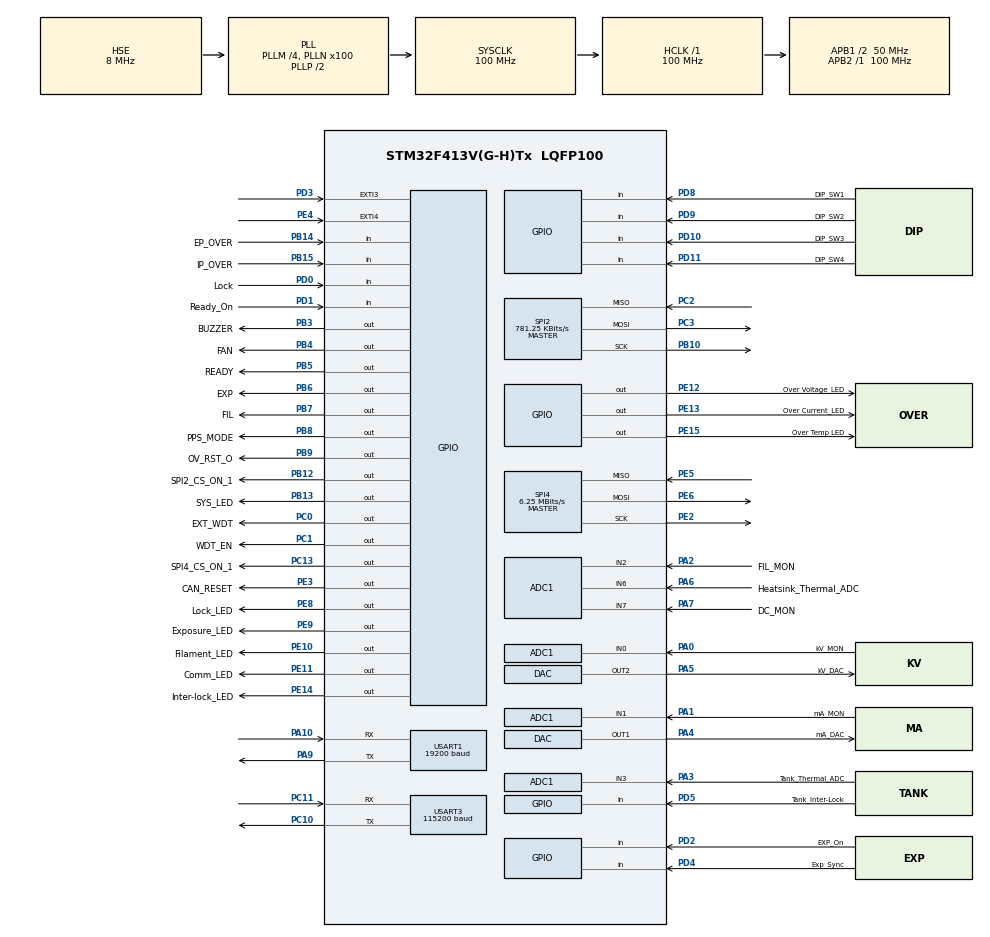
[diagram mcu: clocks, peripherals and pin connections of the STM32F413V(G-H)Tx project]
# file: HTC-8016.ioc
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ADC1.Channel-0\#ChannelRegularConversion=ADC_CHANNEL_0
ADC1.Channel-1\#ChannelRegularConversion=ADC_CHANNEL_1
ADC1.Channel-2\#ChannelRegularConversion=ADC_CHANNEL_2
ADC1.Channel-3\#ChannelRegularConversion=ADC_CHANNEL_3
ADC1.Channel-4\#ChannelRegularConversion=ADC_CHANNEL_6
ADC1.Channel-5\#ChannelRegularConversion=ADC_CHANNEL_7
ADC1.ContinuousConvMode=ENABLE
ADC1.DMAContinuousRequests=ENABLE
ADC1.NbrOfConversion=6
ADC1.NbrOfConversionFlag=1
ADC1.Rank-0\#ChannelRegularConversion=1
ADC1.Rank-1\#ChannelRegularConversion=2
ADC1.Rank-2\#ChannelRegularConversion=3
ADC1.Rank-3\#ChannelRegularConversion=4
ADC1.Rank-4\#ChannelRegularConversion=5
ADC1.Rank-5\#ChannelRegularConversion=6
ADC1.SamplingTime-0\#ChannelRegularConversion=ADC_SAMPLETIME_15CYCLES
ADC1.SamplingTime-1\#ChannelRegularConversion=ADC_SAMPLETIME_15CYCLES
ADC1.SamplingTime-2\#ChannelRegularConversion=ADC_SAMPLETIME_15CYCLES
ADC1.SamplingTime-3\#ChannelRegularConversion=ADC_SAMPLETIME_15CYCLES
ADC1.SamplingTime-4\#ChannelRegularConversion=ADC_SAMPLETIME_15CYCLES
ADC1.SamplingTime-5\#ChannelRegularConversion=ADC_SAMPLETIME_15CYCLES
ADC1.ScanConvMode=ENABLE
ADC1.master=1
Dma.ADC1.0.Direction=DMA_PERIPH_TO_MEMORY
Dma.ADC1.0.FIFOMode=DMA_FIFOMODE_DISABLE
Dma.ADC1.0.Instance=DMA2_Stream0
Dma.ADC1.0.MemDataAlignment=DMA_MDATAALIGN_WORD
Dma.ADC1.0.MemInc=DMA_MINC_ENABLE
Dma.ADC1.0.Mode=DMA_CIRCULAR
Dma.ADC1.0.PeriphDataAlignment=DMA_PDATAALIGN_WORD
Dma.ADC1.0.PeriphInc=DMA_PINC_DISABLE
Dma.ADC1.0.Priority=DMA_PRIORITY_HIGH
Dma.Request0=ADC1
Mcu.Family=STM32F4
Mcu.Name=STM32F413V(G-H)Tx
Mcu.Package=LQFP100
NVIC.DMA2_Stream0_IRQn=true\:0\:0\:false\:false\:true\:false\:true\:true
NVIC.EXTI3_IRQn=true\:0\:0\:false\:false\:true\:true\:true\:true
NVIC.EXTI4_IRQn=true\:0\:0\:false\:false\:true\:true\:true\:true
NVIC.PriorityGroup=NVIC_PRIORITYGROUP_4
NVIC.TIM1_UP_TIM10_IRQn=true\:0\:0\:false\:false\:true\:true\:true\:true
NVIC.TIM6_DAC_IRQn=true\:0\:0\:false\:false\:true\:true\:true\:true
NVIC.TIM7_IRQn=true\:0\:0\:false\:false\:true\:true\:true\:true
NVIC.USART1_IRQn=true\:0\:0\:false\:false\:true\:true\:true\:true
NVIC.USART3_IRQn=true\:0\:0\:false\:false\:true\:true\:true\:true
PA0.GPIO_Label=kV_MON
PA0.Signal=ADCx_IN0
PA1.GPIO_Label=mA_MON
PA1.Signal=ADCx_IN1
PA10.Mode=Asynchronous
PA10.Signal=USART1_RX
PA13.Mode=Serial_Wire
PA13.Signal=SYS_JTMS-SWDIO
PA14.Mode=Serial_Wire
PA14.Signal=SYS_JTCK-SWCLK
PA2.GPIO_Label=FIL_MON
PA2.Signal=ADCx_IN2
PA3.GPIO_Label=Tank_Thermal_ADC
PA3.Signal=ADCx_IN3
PA4.GPIO_Label=mA_DAC
PA4.Signal=COMP_DAC1_group
PA5.GPIO_Label=kV_DAC
PA5.Signal=COMP_DAC2_group
PA6.GPIO_Label=Heatsink_Thermal_ADC
PA6.Signal=ADCx_IN6
PA7.GPIO_Label=DC_MON
PA7.Signal=ADCx_IN7
PA9.Mode=Asynchronous
PA9.Signal=USART1_TX
PB10.Mode=Full_Duplex_Master
PB10.Signal=SPI2_SCK
PB12.GPIO_Label=SPI2_CS_ON_1
PB12.Signal=GPIO_Output
PB13.GPIO_Label=SYS_LED
PB13.Signal=GPIO_Output
PB14.GPIO_Label=EP_OVER
PB14.Signal=GPIO_Input
PB15.GPIO_Label=IP_OVER
PB15.Signal=GPIO_Input
PB3.GPIO_Label=BUZZER
PB3.Signal=GPIO_Output
PB4.GPIO_Label=FAN
PB4.Signal=GPIO_Output
PB5.GPIO_Label=READY
PB5.Signal=GPIO_Output
PB6.GPIO_Label=EXP
PB6.Signal=GPIO_Output
PB7.GPIO_Label=FIL
PB7.Signal=GPIO_Output
PB8.GPIO_Label=PPS_MODE
PB8.Signal=GPIO_Output
PB9.GPIO_Label=OV_RST_O
PB9.Signal=GPIO_Output
PC0.GPIO_Label=EXT_WDT
PC0.Signal=GPIO_Output
PC1.GPIO_Label=WDT_EN
PC1.PinState=GPIO_PIN_SET
PC1.Signal=GPIO_Output
PC10.Mode=Asynchronous
PC10.Signal=USART3_TX
PC11.Mode=Asynchronous
PC11.Signal=USART3_RX
PC13.GPIO_Label=SPI4_CS_ON_1
PC13.Signal=GPIO_Output
PC2.Mode=Full_Duplex_Master
PC2.Signal=SPI2_MISO
PC3.Mode=Full_Duplex_Master
PC3.Signal=SPI2_MOSI
PD0.GPIO_Label=Lock
PD0.Signal=GPIO_Input
PD1.GPIO_Label=Ready_On
PD1.Signal=GPIO_Input
PD10.GPIO_Label=DIP_SW3
PD10.Signal=GPIO_Input
PD11.GPIO_Label=DIP_SW4
PD11.Signal=GPIO_Input
PD2.GPIO_Label=EXP_On
PD2.Signal=GPIO_Input
PD3.GPIO_ModeDefaultEXTI=GPIO_MODE_IT_RISING_FALLING
PD3.Signal=GPXTI3
PD4.GPIO_Label=Exp_Sync
PD4.Signal=GPIO_Input
PD5.GPIO_Label=Tank_Inter-Lock
PD5.Signal=GPIO_Input
PD8.GPIO_Label=DIP_SW1
PD8.Signal=GPIO_Input
PD9.GPIO_Label=DIP_SW2
PD9.Signal=GPIO_Input
PE10.GPIO_Label=Filament_LED
PE10.GPIO_ModeDefaultOutputPP=GPIO_MODE_OUTPUT_OD
PE10.GPIO_PuPd=GPIO_NOPULL
PE10.PinState=GPIO_PIN_SET
PE10.Signal=GPIO_Output
PE11.GPIO_Label=Comm_LED
PE11.GPIO_ModeDefaultOutputPP=GPIO_MODE_OUTPUT_OD
PE11.GPIO_PuPd=GPIO_NOPULL
PE11.PinState=GPIO_PIN_SET
PE11.Signal=GPIO_Output
PE12.GPIO_Label=Over Voltage_LED
PE12.GPIO_ModeDefaultOutputPP=GPIO_MODE_OUTPUT_OD
PE12.GPIO_PuPd=GPIO_NOPULL
PE12.PinState=GPIO_PIN_SET
PE12.Signal=GPIO_Output
PE13.GPIO_Label=Over Current_LED
PE13.GPIO_ModeDefaultOutputPP=GPIO_MODE_OUTPUT_OD
PE13.GPIO_PuPd=GPIO_NOPULL
PE13.PinState=GPIO_PIN_SET
PE13.Signal=GPIO_Output
PE14.GPIO_Label=Inter-lock_LED
PE14.GPIO_ModeDefaultOutputPP=GPIO_MODE_OUTPUT_OD
PE14.GPIO_PuPd=GPIO_NOPULL
PE14.PinState=GPIO_PIN_SET
PE14.Signal=GPIO_Output
PE15.GPIO_Label=Over Temp LED
PE15.GPIO_ModeDefaultOutputPP=GPIO_MODE_OUTPUT_OD
PE15.GPIO_PuPd=GPIO_NOPULL
PE15.PinState=GPIO_PIN_SET
PE15.Signal=GPIO_Output
PE2.Mode=Full_Duplex_Master
PE2.Signal=SPI4_SCK
PE3.GPIO_Label=CAN_RESET
PE3.PinState=GPIO_PIN_SET
PE3.Signal=GPIO_Output
PE4.GPIO_ModeDefaultEXTI=GPIO_MODE_IT_FALLING
PE4.Signal=GPXTI4
PE5.Mode=Full_Duplex_Master
PE5.Signal=SPI4_MISO
PE6.Mode=Full_Duplex_Master
PE6.Signal=SPI4_MOSI
PE8.GPIO_Label=Lock_LED
PE8.GPIO_ModeDefaultOutputPP=GPIO_MODE_OUTPUT_OD
PE8.GPIO_PuPd=GPIO_NOPULL
PE8.PinState=GPIO_PIN_SET
PE8.Signal=GPIO_Output
PE9.GPIO_Label=Exposure_LED
PE9.GPIO_ModeDefaultOutputPP=GPIO_MODE_OUTPUT_OD
PE9.GPIO_PuPd=GPIO_NOPULL
PE9.PinState=GPIO_PIN_SET
PE9.Signal=GPIO_Output
PH0\ -\ OSC_IN.Mode=HSE-External-Oscillator
PH0\ -\ OSC_IN.Signal=RCC_OSC_IN
PH1\ -\ OSC_OUT.Mode=HSE-External-Oscillator
PH1\ -\ OSC_OUT.Signal=RCC_OSC_OUT
ProjectManager.HeapSize=0x200
ProjectManager.StackSize=0x400
ProjectManager.TargetToolchain=EWARM V7
RCC.AHBFreq_Value=100000000
RCC.APB1CLKDivider=RCC_HCLK_DIV2
RCC.APB1Freq_Value=50000000
RCC.APB1TimFreq_Value=100000000
RCC.APB2Freq_Value=100000000
RCC.APB2TimFreq_Value=100000000
RCC.CortexFreq_Value=100000000
RCC.HCLKFreq_Value=100000000
RCC.HSE_VALUE=8000000
RCC.PLLM=4
RCC.PLLN=100
RCC.PLLSourceVirtual=RCC_PLLSOURCE_HSE
RCC.SYSCLKFreq_VALUE=100000000
RCC.SYSCLKSource=RCC_SYSCLKSOURCE_PLLCLK
RCC.USBFreq_Value=100000000
RCC.VCOOutputFreq_Value=200000000
SH.ADCx_IN0.0=ADC1_IN0,IN0
SH.ADCx_IN1.0=ADC1_IN1,IN1
SH.ADCx_IN2.0=ADC1_IN2,IN2
SH.ADCx_IN3.0=ADC1_IN3,IN3
SH.ADCx_IN6.0=ADC1_IN6,IN6
SH.ADCx_IN7.0=ADC1_IN7,IN7
SH.COMP_DAC1_group.0=DAC_OUT1,DAC_OUT1
SH.COMP_DAC2_group.0=DAC_OUT2,DAC_OUT2
SPI2.BaudRatePrescaler=SPI_BAUDRATEPRESCALER_64
SPI2.CLKPhase=SPI_PHASE_2EDGE
SPI2.CLKPolarity=SPI_POLARITY_HIGH
SPI2.CalculateBaudRate=781.25 KBits/s
SPI2.Direction=SPI_DIRECTION_2LINES
SPI2.Mode=SPI_MODE_MASTER
SPI2.VirtualType=VM_MASTER
SPI4.BaudRatePrescaler=SPI_BAUDRATEPRESCALER_16
SPI4.CLKPhase=SPI_PHASE_2EDGE
SPI4.CLKPolarity=SPI_POLARITY_HIGH
SPI4.CalculateBaudRate=6.25 MBits/s
SPI4.Direction=SPI_DIRECTION_2LINES
SPI4.Mode=SPI_MODE_MASTER
SPI4.VirtualType=VM_MASTER
TIM1.Period=199
TIM1.Prescaler=71
TIM6.Period=999
TIM6.Prescaler=9999
TIM7.Period=999
TIM7.Prescaler=99
USART1.BaudRate=19200
USART1.VirtualMode=VM_ASYNC
USART3.BaudRate=115200
USART3.VirtualMode=VM_ASYNC
VP_TIM1_VS_ClockSourceINT.Mode=Internal
VP_TIM6_VS_ClockSourceINT.Mode=Enable_Timer
VP_TIM7_VS_ClockSourceINT.Mode=Enable_Timer
board=custom

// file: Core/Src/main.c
/* USER CODE BEGIN Header */
/**
  ******************************************************************************
  * @file           : main.c
  * @brief          : Main program body
  ******************************************************************************
  * @attention
  *
  * Copyright (c) 2022 STMicroelectronics.
  * All rights reserved.
  *
  * This software is licensed under terms that can be found in the LICENSE file
  * in the root directory of this software component.
  * If no LICENSE file comes with this software, it is provided AS-IS.
  *
  ******************************************************************************
  */
/* USER CODE END Header */
#include "main.h"

/* USER CODE BEGIN Includes */
#include <stdio.h>
#include "history.h"
#include "CANSPI.h"
#include "uart_debug.h"
#include "operation.h"
#include "exp.h"
#include "adc.h"
#include "uart.h"
/* USER CODE END Includes */

 ADC_HandleTypeDef hadc1;
DMA_HandleTypeDef hdma_adc1;

DAC_HandleTypeDef hdac;

SPI_HandleTypeDef hspi2;
SPI_HandleTypeDef hspi4;

TIM_HandleTypeDef htim1;
TIM_HandleTypeDef htim6;
TIM_HandleTypeDef htim7;

UART_HandleTypeDef huart1;
UART_HandleTypeDef huart3;

void SystemClock_Config(void);
static void MX_GPIO_Init(void);
static void MX_DMA_Init(void);
static void MX_ADC1_Init(void);
static void MX_DAC_Init(void);
static void MX_SPI2_Init(void);
static void MX_SPI4_Init(void);
static void MX_TIM6_Init(void);
static void MX_TIM7_Init(void);
static void MX_USART1_UART_Init(void);
static void MX_USART3_UART_Init(void);
static void MX_TIM1_Init(void);

/* USER CODE BEGIN 0 */
void HAL_GPIO_EXTI_Callback(uint16_t GPIO_Pin)
{
    switch(GPIO_Pin)
    {
        case GPIO_PIN_3:
        {
        	if(ERR_NO != NO_ERR)	{ return; }

        	if(g_opt.exp_opt == PPS)
        	{
        		switch(Hand_Switch_Status)
        		{
        			case sw_EXP_ing:
        			{
        				FIL_ON;
        				if(PpsXrayStatus == _OFF)
        				{
        				        if(g_xray.stat == 0)
        				        {
                        				g_xray.stat = 1;
                        				T_1ms_Exp_Err_chk = 0;
        				        }

        					T_1ms_Exp_Pulse_Err_chk = 0;

        					EXP_DTC_ON;
        					PPS_MODE_OFF;
        					HAL_DAC_SetValue(&hdac, DAC_CHANNEL_1, DAC_ALIGN_12B_R, g_xray.pron_dac);  //mA DAC
                                                HAL_DAC_SetValue(&hdac, DAC_CHANNEL_2, DAC_ALIGN_12B_R, g_xray.kv_dac);  //kV DAC
                                                if(DipSwitch.bit.sw3_buzzeroff == DIPSW_OFF) { BuzzerState = _ON; }
                                                EXPOSURE_LED_ON;

                                                PpsXrayStatus = _ON;
        				}
        				else if(PpsXrayStatus == _ON)
        				{
        					EXP_DTC_OFF;
        					PPS_MODE_ON;
        					HAL_DAC_SetValue(&hdac, DAC_CHANNEL_1, DAC_ALIGN_12B_R, g_xray.prof_dac);  //mA DAC
                                                HAL_DAC_SetValue(&hdac, DAC_CHANNEL_2, DAC_ALIGN_12B_R, 0);  //kV DAC
                                                BuzzerState = _OFF;
                                                EXPOSURE_LED_OFF;

                                                PpsXrayStatus = _OFF;
        				}

                                }
                                break;
                        }
                }
        }

        case GPIO_PIN_4:
        {
                //CAN_RX_Queue_Add();
                break;
        }
    }
}
/* USER CODE END 0 */

int main(void)
{

  /* MCU Configuration--------------------------------------------------------*/

  /* Reset of all peripherals, Initializes the Flash interface and the Systick. */
  HAL_Init();

  /* Configure the system clock */
  SystemClock_Config();

  /* Initialize all configured peripherals */
  MX_GPIO_Init();
  MX_DMA_Init();
  MX_ADC1_Init();
  MX_DAC_Init();
  MX_SPI2_Init();
  MX_SPI4_Init();
  MX_TIM6_Init();
  MX_TIM7_Init();
  MX_USART1_UART_Init();
  MX_USART3_UART_Init();
  MX_TIM1_Init();
  /* USER CODE BEGIN 2 */
  HAL_UART_Receive_IT(&huart1, (uint8_t*)U_PACKET.rx_byte, 1);
  HAL_UART_Receive_IT(&huart3, (uint8_t*)P_PACKET.rx_byte, 1);
  HAL_TIM_Base_Start_IT(&htim1);
  HAL_TIM_Base_Start_IT(&htim6);
  HAL_TIM_Base_Start_IT(&htim7);
  htim1.Instance->PSC = 191;
  HAL_DAC_Start(&hdac, DAC_CHANNEL_1);
  HAL_DAC_Start(&hdac, DAC_CHANNEL_2);
  if(HAL_ADC_Start_DMA(&hadc1, (uint32_t*)&ADC_DATA_RAW, 6) != HAL_OK)
  {
        Error_Handler();
  }

  XRAY_RESET();
  Dipswitch_Handler();
  Init_WDT();
  Printf_Initialize();
  ShowVersion();
  EEPROM_Initialize();
  Thermal_Initialize();
  Rating_Initialize();
  /* USER CODE END 2 */

  /* Infinite loop */
  /* USER CODE BEGIN WHILE */
  while (1)
  {
    ADC_GetData();
    ADC_Handler();
    Error_Send();
    LED_Handler();
    UART_TxRxComLedRun();
    UART_RX_Handler();
    UART_TX_Handler();
    Handswitch_Handler();
    EXP_NOR_Handler();
    EXP_PPS_Handler();
    Dipswitch_Handler();
    Watchdog_Handler();
    /* USER CODE END WHILE */

  }
}

void SystemClock_Config(void)
{
  RCC_OscInitTypeDef RCC_OscInitStruct = {0};
  RCC_ClkInitTypeDef RCC_ClkInitStruct = {0};

  /** Configure the main internal regulator output voltage
  */
  __HAL_RCC_PWR_CLK_ENABLE();
  __HAL_PWR_VOLTAGESCALING_CONFIG(PWR_REGULATOR_VOLTAGE_SCALE1);

  /** Initializes the RCC Oscillators according to the specified parameters
  * in the RCC_OscInitTypeDef structure.
  */
  RCC_OscInitStruct.OscillatorType = RCC_OSCILLATORTYPE_HSE;
  RCC_OscInitStruct.HSEState = RCC_HSE_ON;
  RCC_OscInitStruct.PLL.PLLState = RCC_PLL_ON;
  RCC_OscInitStruct.PLL.PLLSource = RCC_PLLSOURCE_HSE;
  RCC_OscInitStruct.PLL.PLLM = 4;
  RCC_OscInitStruct.PLL.PLLN = 100;
  RCC_OscInitStruct.PLL.PLLP = RCC_PLLP_DIV2;
  RCC_OscInitStruct.PLL.PLLQ = 2;
  RCC_OscInitStruct.PLL.PLLR = 2;
  if (HAL_RCC_OscConfig(&RCC_OscInitStruct) != HAL_OK)
  {
    Error_Handler();
  }

  /** Initializes the CPU, AHB and APB buses clocks
  */
  RCC_ClkInitStruct.ClockType = RCC_CLOCKTYPE_HCLK|RCC_CLOCKTYPE_SYSCLK
                              |RCC_CLOCKTYPE_PCLK1|RCC_CLOCKTYPE_PCLK2;
  RCC_ClkInitStruct.SYSCLKSource = RCC_SYSCLKSOURCE_PLLCLK;
  RCC_ClkInitStruct.AHBCLKDivider = RCC_SYSCLK_DIV1;
  RCC_ClkInitStruct.APB1CLKDivider = RCC_HCLK_DIV2;
  RCC_ClkInitStruct.APB2CLKDivider = RCC_HCLK_DIV1;

  if (HAL_RCC_ClockConfig(&RCC_ClkInitStruct, FLASH_LATENCY_3) != HAL_OK)
  {
    Error_Handler();
  }
}

static void MX_ADC1_Init(void)
{

  ADC_ChannelConfTypeDef sConfig = {0};

  /** Configure the global features of the ADC (Clock, Resolution, Data Alignment and number of conversion)
  */
  hadc1.Instance = ADC1;
  hadc1.Init.ClockPrescaler = ADC_CLOCK_SYNC_PCLK_DIV4;
  hadc1.Init.Resolution = ADC_RESOLUTION_12B;
  hadc1.Init.ScanConvMode = ENABLE;
  hadc1.Init.ContinuousConvMode = ENABLE;
  hadc1.Init.DiscontinuousConvMode = DISABLE;
  hadc1.Init.ExternalTrigConvEdge = ADC_EXTERNALTRIGCONVEDGE_NONE;
  hadc1.Init.ExternalTrigConv = ADC_SOFTWARE_START;
  hadc1.Init.DataAlign = ADC_DATAALIGN_RIGHT;
  hadc1.Init.NbrOfConversion = 6;
  hadc1.Init.DMAContinuousRequests = ENABLE;
  hadc1.Init.EOCSelection = ADC_EOC_SINGLE_CONV;
  if (HAL_ADC_Init(&hadc1) != HAL_OK)
  {
    Error_Handler();
  }

  /** Configure for the selected ADC regular channel its corresponding rank in the sequencer and its sample time.
  */
  sConfig.Channel = ADC_CHANNEL_0;
  sConfig.Rank = 1;
  sConfig.SamplingTime = ADC_SAMPLETIME_15CYCLES;
  if (HAL_ADC_ConfigChannel(&hadc1, &sConfig) != HAL_OK)
  {
    Error_Handler();
  }

  /** Configure for the selected ADC regular channel its corresponding rank in the sequencer and its sample time.
  */
  sConfig.Channel = ADC_CHANNEL_1;
  sConfig.Rank = 2;
  if (HAL_ADC_ConfigChannel(&hadc1, &sConfig) != HAL_OK)
  {
    Error_Handler();
  }

  /** Configure for the selected ADC regular channel its corresponding rank in the sequencer and its sample time.
  */
  sConfig.Channel = ADC_CHANNEL_2;
  sConfig.Rank = 3;
  if (HAL_ADC_ConfigChannel(&hadc1, &sConfig) != HAL_OK)
  {
    Error_Handler();
  }

  /** Configure for the selected ADC regular channel its corresponding rank in the sequencer and its sample time.
  */
  sConfig.Channel = ADC_CHANNEL_3;
  sConfig.Rank = 4;
  if (HAL_ADC_ConfigChannel(&hadc1, &sConfig) != HAL_OK)
  {
    Error_Handler();
  }

  /** Configure for the selected ADC regular channel its corresponding rank in the sequencer and its sample time.
  */
  sConfig.Channel = ADC_CHANNEL_6;
  sConfig.Rank = 5;
  if (HAL_ADC_ConfigChannel(&hadc1, &sConfig) != HAL_OK)
  {
    Error_Handler();
  }

  /** Configure for the selected ADC regular channel its corresponding rank in the sequencer and its sample time.
  */
  sConfig.Channel = ADC_CHANNEL_7;
  sConfig.Rank = 6;
  if (HAL_ADC_ConfigChannel(&hadc1, &sConfig) != HAL_OK)
  {
    Error_Handler();
  }

}

static void MX_DAC_Init(void)
{

  DAC_ChannelConfTypeDef sConfig = {0};

  /** DAC Initialization
  */
  hdac.Instance = DAC;
  if (HAL_DAC_Init(&hdac) != HAL_OK)
  {
    Error_Handler();
  }

  /** DAC channel OUT1 config
  */
  sConfig.DAC_Trigger = DAC_TRIGGER_NONE;
  sConfig.DAC_OutputBuffer = DAC_OUTPUTBUFFER_ENABLE;
  if (HAL_DAC_ConfigChannel(&hdac, &sConfig, DAC_CHANNEL_1) != HAL_OK)
  {
    Error_Handler();
  }

  /** DAC channel OUT2 config
  */
  if (HAL_DAC_ConfigChannel(&hdac, &sConfig, DAC_CHANNEL_2) != HAL_OK)
  {
    Error_Handler();
  }

}

static void MX_SPI2_Init(void)
{

  /* SPI2 parameter configuration*/
  hspi2.Instance = SPI2;
  hspi2.Init.Mode = SPI_MODE_MASTER;
  hspi2.Init.Direction = SPI_DIRECTION_2LINES;
  hspi2.Init.DataSize = SPI_DATASIZE_8BIT;
  hspi2.Init.CLKPolarity = SPI_POLARITY_HIGH;
  hspi2.Init.CLKPhase = SPI_PHASE_2EDGE;
  hspi2.Init.NSS = SPI_NSS_SOFT;
  hspi2.Init.BaudRatePrescaler = SPI_BAUDRATEPRESCALER_64;
  hspi2.Init.FirstBit = SPI_FIRSTBIT_MSB;
  hspi2.Init.TIMode = SPI_TIMODE_DISABLE;
  hspi2.Init.CRCCalculation = SPI_CRCCALCULATION_DISABLE;
  hspi2.Init.CRCPolynomial = 10;
  if (HAL_SPI_Init(&hspi2) != HAL_OK)
  {
    Error_Handler();
  }

}

static void MX_SPI4_Init(void)
{

  /* SPI4 parameter configuration*/
  hspi4.Instance = SPI4;
  hspi4.Init.Mode = SPI_MODE_MASTER;
  hspi4.Init.Direction = SPI_DIRECTION_2LINES;
  hspi4.Init.DataSize = SPI_DATASIZE_8BIT;
  hspi4.Init.CLKPolarity = SPI_POLARITY_HIGH;
  hspi4.Init.CLKPhase = SPI_PHASE_2EDGE;
  hspi4.Init.NSS = SPI_NSS_SOFT;
  hspi4.Init.BaudRatePrescaler = SPI_BAUDRATEPRESCALER_16;
  hspi4.Init.FirstBit = SPI_FIRSTBIT_MSB;
  hspi4.Init.TIMode = SPI_TIMODE_DISABLE;
  hspi4.Init.CRCCalculation = SPI_CRCCALCULATION_DISABLE;
  hspi4.Init.CRCPolynomial = 10;
  if (HAL_SPI_Init(&hspi4) != HAL_OK)
  {
    Error_Handler();
  }

}

static void MX_TIM1_Init(void)
{

  TIM_ClockConfigTypeDef sClockSourceConfig = {0};
  TIM_MasterConfigTypeDef sMasterConfig = {0};

  htim1.Instance = TIM1;
  htim1.Init.Prescaler = 71;
  htim1.Init.CounterMode = TIM_COUNTERMODE_UP;
  htim1.Init.Period = 199;
  htim1.Init.ClockDivision = TIM_CLOCKDIVISION_DIV1;
  htim1.Init.RepetitionCounter = 0;
  htim1.Init.AutoReloadPreload = TIM_AUTORELOAD_PRELOAD_DISABLE;
  if (HAL_TIM_Base_Init(&htim1) != HAL_OK)
  {
    Error_Handler();
  }
  sClockSourceConfig.ClockSource = TIM_CLOCKSOURCE_INTERNAL;
  if (HAL_TIM_ConfigClockSource(&htim1, &sClockSourceConfig) != HAL_OK)
  {
    Error_Handler();
  }
  sMasterConfig.MasterOutputTrigger = TIM_TRGO_RESET;
  sMasterConfig.MasterSlaveMode = TIM_MASTERSLAVEMODE_DISABLE;
  if (HAL_TIMEx_MasterConfigSynchronization(&htim1, &sMasterConfig) != HAL_OK)
  {
    Error_Handler();
  }

}

static void MX_TIM6_Init(void)
{

  TIM_MasterConfigTypeDef sMasterConfig = {0};

  htim6.Instance = TIM6;
  htim6.Init.Prescaler = 9999;
  htim6.Init.CounterMode = TIM_COUNTERMODE_UP;
  htim6.Init.Period = 999;
  htim6.Init.AutoReloadPreload = TIM_AUTORELOAD_PRELOAD_DISABLE;
  if (HAL_TIM_Base_Init(&htim6) != HAL_OK)
  {
    Error_Handler();
  }
  sMasterConfig.MasterOutputTrigger = TIM_TRGO_RESET;
  sMasterConfig.MasterSlaveMode = TIM_MASTERSLAVEMODE_DISABLE;
  if (HAL_TIMEx_MasterConfigSynchronization(&htim6, &sMasterConfig) != HAL_OK)
  {
    Error_Handler();
  }

}

static void MX_TIM7_Init(void)
{

  TIM_MasterConfigTypeDef sMasterConfig = {0};

  htim7.Instance = TIM7;
  htim7.Init.Prescaler = 99;
  htim7.Init.CounterMode = TIM_COUNTERMODE_UP;
  htim7.Init.Period = 999;
  htim7.Init.AutoReloadPreload = TIM_AUTORELOAD_PRELOAD_DISABLE;
  if (HAL_TIM_Base_Init(&htim7) != HAL_OK)
  {
    Error_Handler();
  }
  sMasterConfig.MasterOutputTrigger = TIM_TRGO_RESET;
  sMasterConfig.MasterSlaveMode = TIM_MASTERSLAVEMODE_DISABLE;
  if (HAL_TIMEx_MasterConfigSynchronization(&htim7, &sMasterConfig) != HAL_OK)
  {
    Error_Handler();
  }

}

static void MX_USART1_UART_Init(void)
{

  huart1.Instance = USART1;
  huart1.Init.BaudRate = 19200;
  huart1.Init.WordLength = UART_WORDLENGTH_8B;
  huart1.Init.StopBits = UART_STOPBITS_1;
  huart1.Init.Parity = UART_PARITY_NONE;
  huart1.Init.Mode = UART_MODE_TX_RX;
  huart1.Init.HwFlowCtl = UART_HWCONTROL_NONE;
  huart1.Init.OverSampling = UART_OVERSAMPLING_16;
  if (HAL_UART_Init(&huart1) != HAL_OK)
  {
    Error_Handler();
  }

}

static void MX_USART3_UART_Init(void)
{

  huart3.Instance = USART3;
  huart3.Init.BaudRate = 115200;
  huart3.Init.WordLength = UART_WORDLENGTH_8B;
  huart3.Init.StopBits = UART_STOPBITS_1;
  huart3.Init.Parity = UART_PARITY_NONE;
  huart3.Init.Mode = UART_MODE_TX_RX;
  huart3.Init.HwFlowCtl = UART_HWCONTROL_NONE;
  huart3.Init.OverSampling = UART_OVERSAMPLING_16;
  if (HAL_UART_Init(&huart3) != HAL_OK)
  {
    Error_Handler();
  }

}

static void MX_DMA_Init(void)
{

  /* DMA controller clock enable */
  __HAL_RCC_DMA2_CLK_ENABLE();

  /* DMA interrupt init */
  /* DMA2_Stream0_IRQn interrupt configuration */
  HAL_NVIC_SetPriority(DMA2_Stream0_IRQn, 0, 0);
  HAL_NVIC_EnableIRQ(DMA2_Stream0_IRQn);

}

static void MX_GPIO_Init(void)
{
  GPIO_InitTypeDef GPIO_InitStruct = {0};

  /* GPIO Ports Clock Enable */
  __HAL_RCC_GPIOE_CLK_ENABLE();
  __HAL_RCC_GPIOC_CLK_ENABLE();
  __HAL_RCC_GPIOH_CLK_ENABLE();
  __HAL_RCC_GPIOA_CLK_ENABLE();
  __HAL_RCC_GPIOB_CLK_ENABLE();
  __HAL_RCC_GPIOD_CLK_ENABLE();

  /*Configure GPIO pin Output Level */
  HAL_GPIO_WritePin(GPIOE, CAN_RESET_Pin|Lock_LED_Pin|Exposure_LED_Pin|Filament_LED_Pin
                          |Comm_LED_Pin|Over_Voltage_LED_Pin|Over_Current_LED_Pin|Inter_lock_LED_Pin
                          |Over_Temp_LED_Pin, GPIO_PIN_SET);

  /*Configure GPIO pin Output Level */
  HAL_GPIO_WritePin(GPIOC, SPI4_CS_ON_1_Pin|EXT_WDT_Pin, GPIO_PIN_RESET);

  /*Configure GPIO pin Output Level */
  HAL_GPIO_WritePin(WDT_EN_GPIO_Port, WDT_EN_Pin, GPIO_PIN_SET);

  /*Configure GPIO pin Output Level */
  HAL_GPIO_WritePin(GPIOB, SPI2_CS_ON_1_Pin|SYS_LED_Pin|BUZZER_Pin|FAN_Pin
                          |READY_Pin|EXP_Pin|FIL_Pin|PPS_MODE_Pin
                          |OV_RST_O_Pin, GPIO_PIN_RESET);

  /*Configure GPIO pin : CAN_RESET_Pin */
  GPIO_InitStruct.Pin = CAN_RESET_Pin;
  GPIO_InitStruct.Mode = GPIO_MODE_OUTPUT_PP;
  GPIO_InitStruct.Pull = GPIO_NOPULL;
  GPIO_InitStruct.Speed = GPIO_SPEED_FREQ_LOW;
  HAL_GPIO_Init(CAN_RESET_GPIO_Port, &GPIO_InitStruct);

  /*Configure GPIO pin : PE4 */
  GPIO_InitStruct.Pin = GPIO_PIN_4;
  GPIO_InitStruct.Mode = GPIO_MODE_IT_FALLING;
  GPIO_InitStruct.Pull = GPIO_NOPULL;
  HAL_GPIO_Init(GPIOE, &GPIO_InitStruct);

  /*Configure GPIO pins : SPI4_CS_ON_1_Pin EXT_WDT_Pin WDT_EN_Pin */
  GPIO_InitStruct.Pin = SPI4_CS_ON_1_Pin|EXT_WDT_Pin|WDT_EN_Pin;
  GPIO_InitStruct.Mode = GPIO_MODE_OUTPUT_PP;
  GPIO_InitStruct.Pull = GPIO_NOPULL;
  GPIO_InitStruct.Speed = GPIO_SPEED_FREQ_LOW;
  HAL_GPIO_Init(GPIOC, &GPIO_InitStruct);

  /*Configure GPIO pins : Lock_LED_Pin Exposure_LED_Pin Filament_LED_Pin Comm_LED_Pin
                           Over_Voltage_LED_Pin Over_Current_LED_Pin Inter_lock_LED_Pin Over_Temp_LED_Pin */
  GPIO_InitStruct.Pin = Lock_LED_Pin|Exposure_LED_Pin|Filament_LED_Pin|Comm_LED_Pin
                          |Over_Voltage_LED_Pin|Over_Current_LED_Pin|Inter_lock_LED_Pin|Over_Temp_LED_Pin;
  GPIO_InitStruct.Mode = GPIO_MODE_OUTPUT_OD;
  GPIO_InitStruct.Pull = GPIO_NOPULL;
  GPIO_InitStruct.Speed = GPIO_SPEED_FREQ_LOW;
  HAL_GPIO_Init(GPIOE, &GPIO_InitStruct);

  /*Configure GPIO pins : SPI2_CS_ON_1_Pin SYS_LED_Pin BUZZER_Pin FAN_Pin
                           READY_Pin EXP_Pin FIL_Pin PPS_MODE_Pin
                           OV_RST_O_Pin */
  GPIO_InitStruct.Pin = SPI2_CS_ON_1_Pin|SYS_LED_Pin|BUZZER_Pin|FAN_Pin
                          |READY_Pin|EXP_Pin|FIL_Pin|PPS_MODE_Pin
                          |OV_RST_O_Pin;
  GPIO_InitStruct.Mode = GPIO_MODE_OUTPUT_PP;
  GPIO_InitStruct.Pull = GPIO_NOPULL;
  GPIO_InitStruct.Speed = GPIO_SPEED_FREQ_LOW;
  HAL_GPIO_Init(GPIOB, &GPIO_InitStruct);

  /*Configure GPIO pins : EP_OVER_Pin IP_OVER_Pin */
  GPIO_InitStruct.Pin = EP_OVER_Pin|IP_OVER_Pin;
  GPIO_InitStruct.Mode = GPIO_MODE_INPUT;
  GPIO_InitStruct.Pull = GPIO_NOPULL;
  HAL_GPIO_Init(GPIOB, &GPIO_InitStruct);

  /*Configure GPIO pins : DIP_SW1_Pin DIP_SW2_Pin DIP_SW3_Pin DIP_SW4_Pin
                           Lock_Pin Ready_On_Pin EXP_On_Pin Exp_Sync_Pin
                           Tank_Inter_Lock_Pin */
  GPIO_InitStruct.Pin = DIP_SW1_Pin|DIP_SW2_Pin|DIP_SW3_Pin|DIP_SW4_Pin
                          |Lock_Pin|Ready_On_Pin|EXP_On_Pin|Exp_Sync_Pin
                          |Tank_Inter_Lock_Pin;
  GPIO_InitStruct.Mode = GPIO_MODE_INPUT;
  GPIO_InitStruct.Pull = GPIO_NOPULL;
  HAL_GPIO_Init(GPIOD, &GPIO_InitStruct);

  /*Configure GPIO pin : PD3 */
  GPIO_InitStruct.Pin = GPIO_PIN_3;
  GPIO_InitStruct.Mode = GPIO_MODE_IT_RISING_FALLING;
  GPIO_InitStruct.Pull = GPIO_NOPULL;
  HAL_GPIO_Init(GPIOD, &GPIO_InitStruct);

  /* EXTI interrupt init*/
  HAL_NVIC_SetPriority(EXTI3_IRQn, 0, 0);
  HAL_NVIC_EnableIRQ(EXTI3_IRQn);

  HAL_NVIC_SetPriority(EXTI4_IRQn, 0, 0);
  HAL_NVIC_EnableIRQ(EXTI4_IRQn);

}

void Error_Handler(void)
{
  __disable_irq();
  while (1)
  {
  }
}
